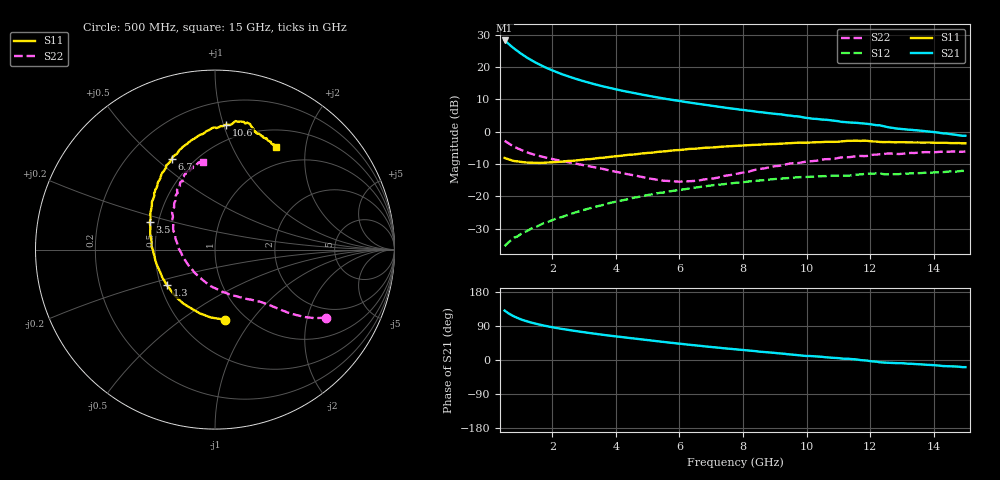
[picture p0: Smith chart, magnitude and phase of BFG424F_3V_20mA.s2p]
! Filename BFG424F_3V_20mA.prm
! Simulation_Values
! Created	by	janssen	on	nov	2006
!	Column ranking S11, S21,S12,S22 both magnitude and phase.
!	VCE	=	3	V,	IC	=	20	mA
!	Common	Emitter	S-Parameters
#	GHZ	S	MA	R	50
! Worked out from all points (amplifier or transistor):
!   146 points, 500 MHz to 15 GHz, reference 50 ohm
!   highest |S21| = 28.3 dB at 500 MHz (marker M1)
!   |S21| within 3 dB of that: start of sweep to 866.9 MHz
!   unconditionally stable (mu >= 1): 1.686 GHz to end of sweep
!   at 2.9 GHz: K = 1.14, MAG = 17.9 dB, |S12| = -24.4 dB
!   at 7.8 GHz: K = 1.14, MAG = 9.1 dB, |S12| = -15.8 dB
!   at 15 GHz: K = 1.40, MAG = 1.7 dB, |S12| = -12.1 dB
!   S11 on the Smith chart (normalised r, x): 500 MHz: 0.81, -0.74; 1.3 GHz: 0.54, -0.24; 3.5 GHz: 0.45, +0.16; 6.7 GHz: 0.38, +0.56; 10.6 GHz: 0.37, +1.02; 15 GHz: 0.74, +1.50
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0.5  0.394 -82.2  25.89 130.5  0.017 65.6  0.726 -31.5
0.6  0.379 -93.5  23.45 124.4  0.019 63.5  0.674 -34.5
0.7  0.365 -103.5  21.3 119.3  0.021 63.5  0.628 -36.8
0.8  0.353 -112.3  19.41 114.9  0.023 62.9  0.59 -38.5
0.9  0.349 -120.0  17.82 111.1  0.024 62.8  0.557 -40.0
1  0.343 -126.9  16.42 107.7  0.026 62.8  0.529 -41.1
1.1  0.339 -133.1  15.19 104.7  0.028 63.2  0.504 -42.2
1.3  0.333 -143.7  13.18 99.7  0.031 64.0  0.464 -43.9
1.4  0.332 -148.5  12.35 97.4  0.033 64.7  0.448 -44.7
1.6  0.33 -156.4  10.97 93.3  0.036 65.3  0.421 -46.4
1.9  0.336 -167.2  9.352 88.0  0.041 66.7  0.387 -48.8
2.4  0.349 179.0  7.499 80.8  0.05 67.9  0.346 -53.9
3  0.372 166.1  6.039 73.2  0.062 68.1  0.304 -61.4
3.5  0.395 156.9  5.18 67.5  0.072 67.5  0.273 -69.4
4.4  0.441 142.8  4.125 58.1  0.091 65.6  0.219 -87.5
5.4  0.493 129.9  3.353 48.4  0.114 61.7  0.178 -116.9
6.7  0.558 115.7  2.654 37.0  0.141 56.2  0.18 -163.3
7.8  0.606 105.7  2.245 28.0  0.163 51.0  0.224 166.2
10.2  0.684 87.9  1.593 10.1  0.202 38.5  0.352 128.9
10.6  0.699 84.9  1.539 7.1  0.206 36.6  0.377 124.3
12.6  0.695 71.1  1.168 -7.4  0.218 27.5  0.463 109.1
15  0.663 59.2  0.868 -18.9  0.247 19.2  0.495 98.1
